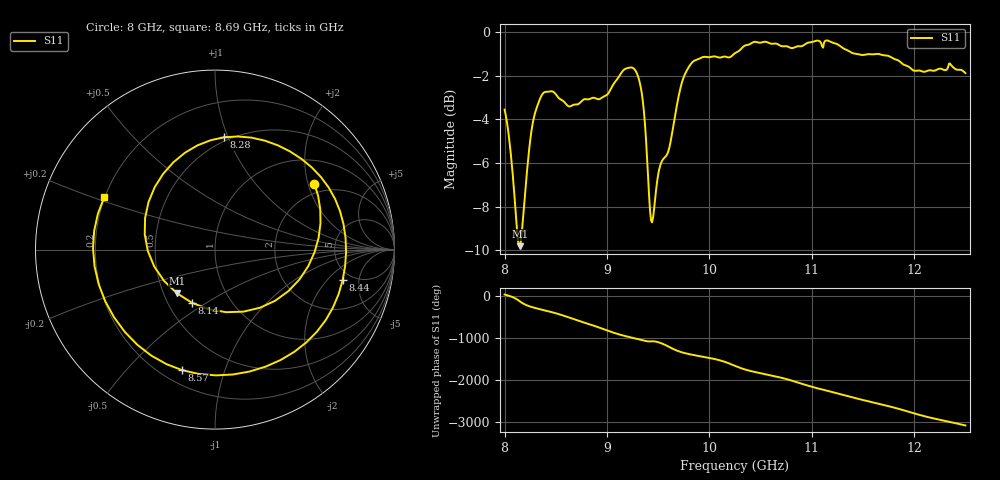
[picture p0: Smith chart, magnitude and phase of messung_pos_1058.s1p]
#  HZ  S  RI  R  50.00
! Rohde & Schwarz Vector Network Analyzer
! Rohde-Schwarz,ZNA43-4Port,1332450044101932,2.92
! Created: UTC 6/1/2026, 11:34:02 AM
! freq[Hz]  re:S11  im:S11
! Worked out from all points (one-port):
!   451 points, 8 GHz to 12.5 GHz, reference 50 ohm
!   lowest |S11| = -9.8 dB at 8.15 GHz (marker M1), VSWR 1.95, Z = 29.3 - j15.9 ohm
!   |S11| at or under -10 dB: nowhere
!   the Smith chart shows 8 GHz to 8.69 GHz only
!   S11 on the Smith chart (normalised r, x): 8 GHz: 1.67, +2.20; 8.14 GHz: 0.66, -0.44; 8.28 GHz: 0.47, +0.97; 8.44 GHz: 4.12, -3.03; 8.57 GHz: 0.28, -0.73; 8.69 GHz: 0.20, +0.22
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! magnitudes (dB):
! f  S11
! 8 GHz  -3.5
! 8.05 GHz  -5.1
! 8.14 GHz  -9.8
! 8.15 GHz  -9.8
! 8.28 GHz  -4.0
! 8.36 GHz  -2.9
! 8.44 GHz  -2.7
! 8.57 GHz  -3.1
! 8.69 GHz  -3.3
! 8.99 GHz  -2.9
! 9.13 GHz  -1.9
! 9.25 GHz  -1.6
! 9.32 GHz  -2.3
! 9.36 GHz  -3.6
! 9.42 GHz  -8.2
! 9.44 GHz  -8.7
! 9.51 GHz  -6.3
! 9.61 GHz  -5.3
! 9.69 GHz  -3.2
! 9.75 GHz  -2.0
! 9.84 GHz  -1.3
! 10.25 GHz  -1.0
! 10.44 GHz  -0.4
! 10.82 GHz  -0.7
! 11.15 GHz  -0.4
! 11.38 GHz  -0.9
! 11.94 GHz  -1.6
! 12.5 GHz  -1.9
